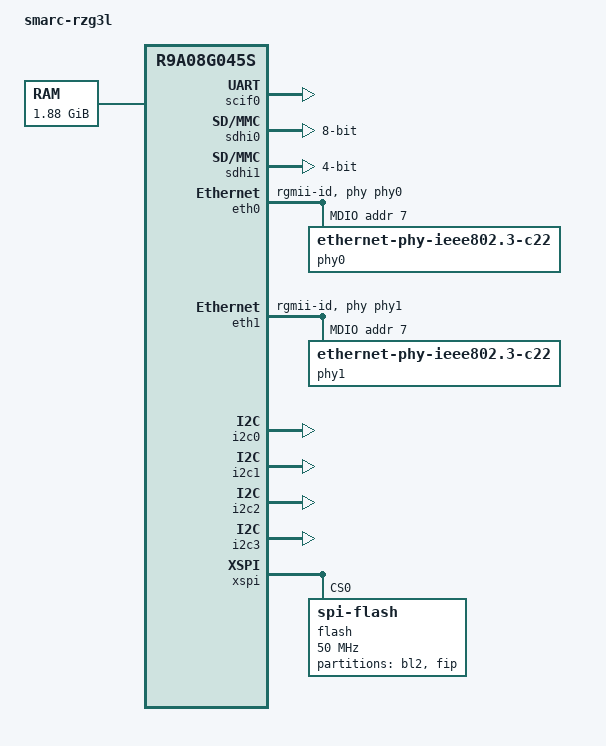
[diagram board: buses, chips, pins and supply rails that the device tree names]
// SPDX-License-Identifier: GPL-2.0
/*
 * Device Tree Source for the RZ/G3S Dev board
 *
 * Copyright (C) 2022 Renesas Electronics
 */

/dts-v1/;
#include <dt-bindings/gpio/gpio.h>
#include "r9a08g046.dtsi"
#include "r9a08g046-u-boot.dtsi"
#include <dt-bindings/pinctrl/rzg2l-pinctrl.h>

/ {
	model = "smarc-rzg3l";
	compatible = "renesas,r9a08g045s", "renesas,rzg3s";

	aliases {
		serial0 = &scif0;
		spi0 = &xspi;
	};

	chosen {
		stdout-path = "serial0:115200n8";
	};

	memory@48000000 {
		device_type = "memory";
		/* first 128MB is reserved for secure area. */
		reg = <0 0x48000000 0 0x78000000>;
	};
};

&xinclk {
	clock-frequency = <24000000>;
};

&scif0 {
	status = "okay";
	clock = <100000000>;
};

&sdhi0 {
	bus-width = <8>;
	status = "okay";
};

&sdhi1 {
	bus-width = <4>;
	status = "okay";
};

&eth0 {
	status = "okay";
	phy-handle = <&phy0>;
	phy-mode = "rgmii-id";

	mdio {
		#address-cells = <1>;
		#size-cells = <0>;

		phy0: ethernet-phy@7 {
			compatible = "ethernet-phy-ieee802.3-c22";
			reg = <7>;
			txc-skew-ps = <1700>;
			txen-skew-ps = <(-700)>;
			txd0-skew-ps = <0>;
			txd1-skew-ps = <0>;
			txd2-skew-ps = <0>;
			txd3-skew-ps = <0>;
		};
	};
};

&eth1 {
	status = "okay";
	phy-handle = <&phy1>;
	phy-mode = "rgmii-id";

	mdio {
		#address-cells = <1>;
		#size-cells = <0>;

		phy1: ethernet-phy@7 {
			compatible = "ethernet-phy-ieee802.3-c22";
			reg = <7>;
			txc-skew-ps = <1700>;
			txen-skew-ps = <(-700)>;
			txd0-skew-ps = <0>;
			txd1-skew-ps = <0>;
			txd2-skew-ps = <0>;
			txd3-skew-ps = <0>;
		};
	};
};

&i2c0 {
	status = "okay";
};

&i2c1 {
	status = "okay";
};

&i2c2 {
	status = "okay";
};

&i2c3 {
	status = "okay";
};

&xspi {
	status = "okay";

	flash@0 {
		compatible = "spi-flash", "jedec,spi-nor";
		reg = <0>;
		m25p,fast-read;
		spi-max-frequency = <50000000>;
		spi-tx-bus-width = <1>;
		spi-rx-bus-width = <1>;

		partitions {
			compatible = "fixed-partitions";
			#address-cells = <1>;
			#size-cells = <1>;

			partition@0 {
				label = "bl2";
				reg = <0x00000000 0x00040000>;
			};

			partition@60000 {
				label = "fip";
				reg = <0x00060000 0x00FA0000>;
			};
		};
	};
};
